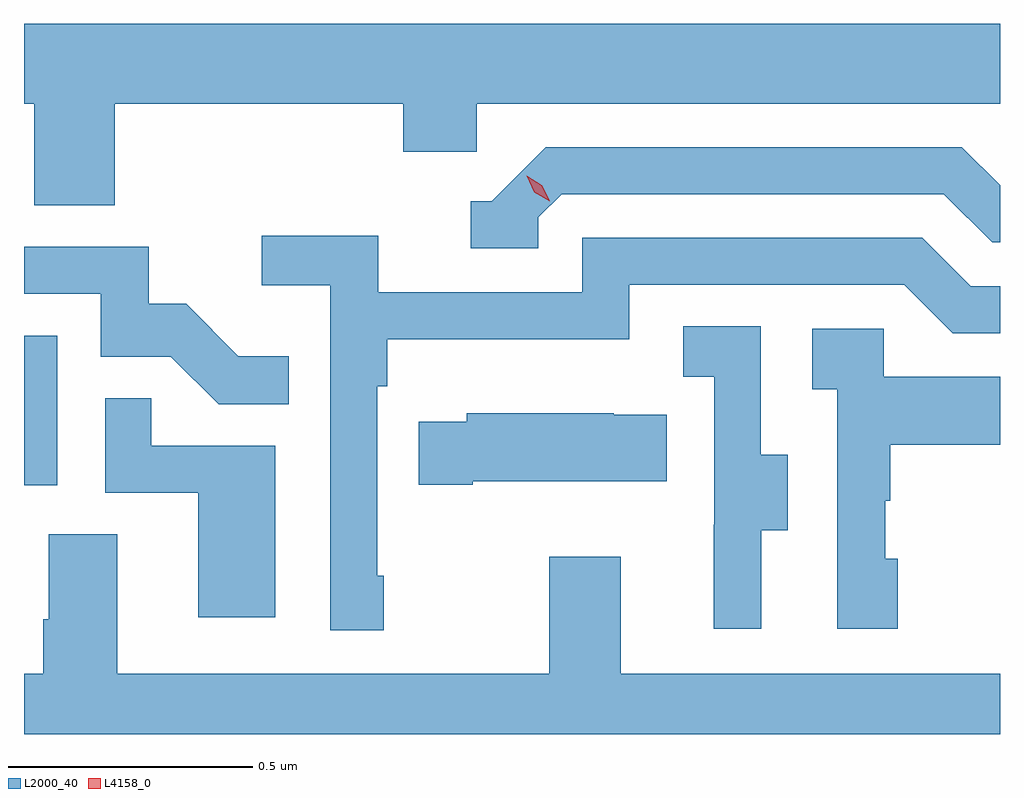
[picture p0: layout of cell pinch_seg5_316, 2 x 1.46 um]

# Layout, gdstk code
import gdstk
lib = gdstk.Library(unit=1e-6, precision=1e-09)
def R(c, l, rs):  # rectangles x0, y0, x1, y1
    for r in rs: c.add(gdstk.rectangle(r[:2], r[2:], *l))
def P(c, l, *ps):  # polygons
    for p in ps: c.add(gdstk.Polygon(p, *l))
L2000_40 = (2000, 40)
L4158_0 = (4158, 0)

pinch_seg5_316 = lib.new_cell('pinch_seg5_316')
R(pinch_seg5_316, L2000_40, [(906.23,883.95,906.298,884.257)])
P(pinch_seg5_316, L2000_40, [(906.416,884.732),(907.007,884.732),(907.007,884.634),(907.158,884.634),(907.158,884.732),(908.23,884.732),(908.23,884.896),(906.23,884.896),(906.23,884.732),(906.251,884.732),(906.251,884.524),(906.416,884.524)],
  [(907.284,884.499),(907.332,884.547),(908.115,884.547),(908.214,884.448),(908.23,884.448),(908.23,884.565),(908.152,884.643),(907.299,884.643),(907.188,884.532),(907.145,884.532),(907.145,884.436),(907.284,884.436)],
  [(906.967,883.765),(906.954,883.765),(906.954,884.153),(906.974,884.153),(906.974,884.249),(907.47,884.249),(907.47,884.361),(908.034,884.361),(908.133,884.262),(908.23,884.262),(908.23,884.358),(908.17,884.358),(908.071,884.457),(907.374,884.457),(907.374,884.346),(906.956,884.346),(906.956,884.462),(906.717,884.462),(906.717,884.36),(906.858,884.36),(906.858,883.653),(906.967,883.653)],
  [(906.773,884.215),(906.669,884.215),(906.562,884.322),(906.486,884.322),(906.486,884.439),(906.23,884.439),(906.23,884.343),(906.387,884.343),(906.387,884.214),(906.531,884.214),(906.629,884.116),(906.773,884.116)],
  [(907.741,883.858),(907.795,883.858),(907.795,884.013),(907.74,884.013),(907.74,884.276),(907.581,884.276),(907.581,884.173),(907.644,884.173),(907.644,883.869),(907.643,883.869),(907.643,883.656),(907.741,883.656)],
  [(908.02,883.8),(907.995,883.8),(907.995,883.919),(908.005,883.919),(908.005,884.033),(908.23,884.033),(908.23,884.173),(907.992,884.173),(907.992,884.271),(907.845,884.271),(907.845,884.147),(907.896,884.147),(907.896,883.656),(908.02,883.656)],
  [(906.745,884.031),(906.491,884.031),(906.491,884.129),(906.396,884.129),(906.396,883.935),(906.587,883.935),(906.587,883.68),(906.745,883.68)],
  [(907.15,883.958),(907.547,883.958),(907.547,884.095),(907.439,884.095),(907.439,884.098),(907.137,884.098),(907.137,884.08),(907.039,884.08),(907.039,883.951),(907.15,883.951)],
  [(908.23,883.564),(907.453,883.564),(907.453,883.804),(907.306,883.804),(907.306,883.564),(906.421,883.564),(906.421,883.85),(906.281,883.85),(906.281,883.676),(906.269,883.676),(906.269,883.564),(906.23,883.564),(906.23,883.44),(908.23,883.44)])
P(pinch_seg5_316, L4158_0, [(907.307,884.532),(907.276,884.551),(907.26,884.584),(907.26,884.584),(907.26,884.584),(907.291,884.565),(907.307,884.533),(907.307,884.532)])

lib.write_gds('pinch_seg5_316.gds')
